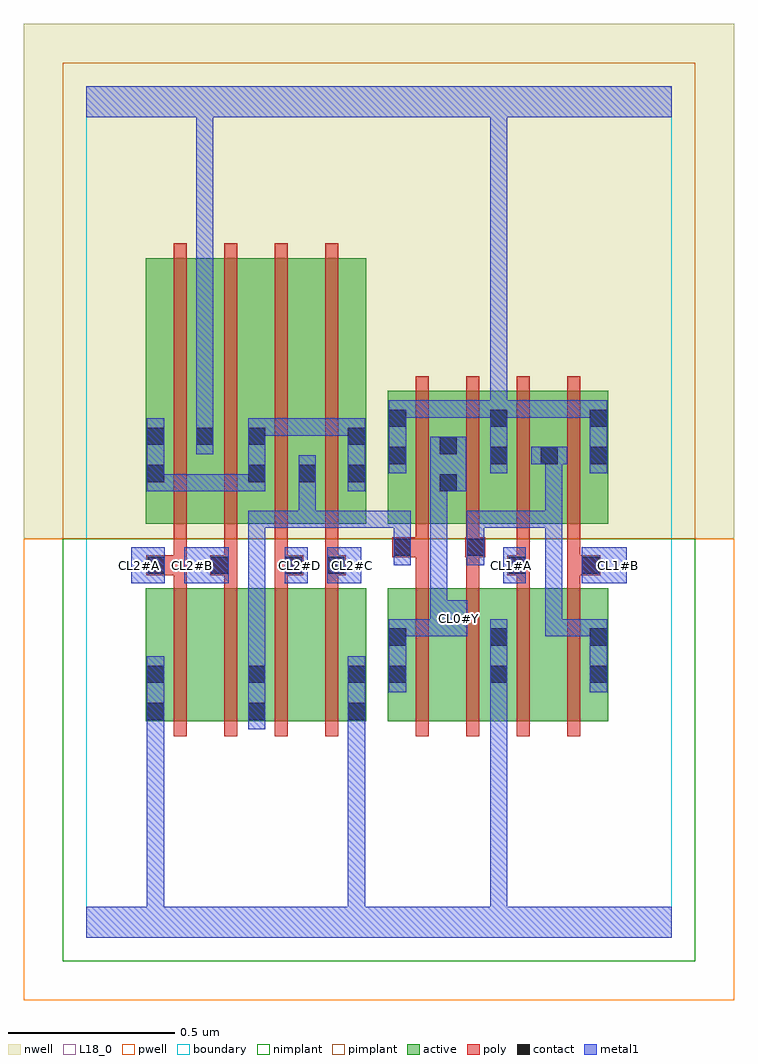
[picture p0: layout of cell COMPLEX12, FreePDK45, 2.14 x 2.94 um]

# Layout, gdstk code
import gdstk
lib = gdstk.Library(unit=1e-6, precision=1e-09)
def R(c, l, rs):  # rectangles x0, y0, x1, y1
    for r in rs: c.add(gdstk.rectangle(r[:2], r[2:], *l))
def A(c, l, x, y, w, h, nx, ny, dx, dy):  # array of equal rectangles
    R(c, l, [(x+i*dx, y+j*dy, x+i*dx+w, y+j*dy+h) for i in range(nx) for j in range(ny)])
active = (1, 0)
pwell = (2, 0)
nwell = (3, 0)
nimplant = (4, 0)
pimplant = (5, 0)
poly = (9, 0)
contact = (10, 0)
metal1 = (11, 0)
L18_0 = (18, 0)
boundary = (235, 0)

complex12 = lib.new_cell('COMPLEX12')
A(complex12, active, 0.906, 1.244, 0.06, 0.4, 4, 1, 0.152, 0)
A(complex12, active, 0.906, 1.244, 0.212, 0.4, 3, 1, 0.152, 0)
R(complex12, active, [(0.178,0.65,0.358,1.05), (0.178,0.65,0.238,1.05), (0.358,0.65,0.542,1.05), (0.482,0.65,0.662,1.05), (0.482,0.65,0.542,0.822), (0.662,0.65,0.842,1.05), (0.782,0.65,0.842,1.05), (0.906,0.65,1.086,1.05), (1.086,0.65,1.27,1.05), (1.21,0.65,1.39,1.05), (1.39,0.65,1.57,1.05), (0.906,0.756,0.966,1.05), (1.21,0.756,1.27,0.934), (1.51,0.756,1.57,1.05), (0.178,1.244,0.238,2.044), (0.178,1.244,0.386,2.044), (0.326,1.244,0.386,2.044), (0.326,1.244,0.542,2.044), (0.482,1.244,0.542,2.044), (0.482,1.244,0.694,2.044), (0.634,1.244,0.694,2.044), (0.634,1.244,0.842,2.044), (0.782,1.244,0.842,2.044), (1.362,1.244,1.57,1.644), (1.51,1.244,1.57,1.644)])
R(complex12, pwell, [(-0.188,-0.188,1.948,1.2)])
R(complex12, nwell, [(-0.188,1.2,1.948,2.748)])
R(complex12, nimplant, [(-0.072,-0.072,1.832,1.2)])
R(complex12, pimplant, [(-0.072,1.2,1.832,2.632)])
A(complex12, poly, 0.262, 0.606, 0.04, 0.488, 4, 1, 0.152, 0)
A(complex12, poly, 0.99, 0.606, 0.04, 0.488, 4, 2, 0.152, 0.594)
A(complex12, poly, 0.262, 1.054, 0.04, 0.076, 4, 1, 0.152, 0)
A(complex12, poly, 0.262, 1.11, 0.04, 0.13, 4, 1, 0.152, 0)
A(complex12, poly, 0.262, 1.2, 0.04, 0.888, 4, 1, 0.152, 0)
R(complex12, poly, [(0.99,1.054,1.03,1.184), (1.142,1.054,1.182,1.184), (1.294,1.054,1.334,1.13), (1.446,1.054,1.486,1.13), (0.18,1.09,0.302,1.15), (0.372,1.09,0.454,1.15), (0.414,1.09,0.454,1.13), (0.414,1.09,0.454,1.13), (0.566,1.09,0.652,1.15), (0.718,1.09,0.78,1.15), (1.266,1.09,1.334,1.15), (1.446,1.09,1.486,1.13), (1.446,1.09,1.486,1.13), (1.446,1.09,1.546,1.15), (0.262,1.11,0.302,1.15), (0.262,1.11,0.302,1.15), (0.566,1.11,0.606,1.15), (0.566,1.11,0.606,1.15), (0.718,1.11,0.758,1.15), (0.718,1.11,0.758,1.15), (1.294,1.11,1.334,1.24), (1.294,1.11,1.334,1.15), (1.294,1.11,1.334,1.15), (1.446,1.11,1.486,1.24), (0.92,1.144,1.03,1.204), (0.99,1.144,1.03,1.184), (0.99,1.144,1.03,1.184), (1.14,1.144,1.2,1.204), (1.142,1.144,1.182,1.184), (1.142,1.144,1.182,1.184), (0.99,1.164,1.03,1.24), (1.142,1.164,1.182,1.24)])
R(complex12, contact, [(0.182,0.654,0.234,0.706), (0.486,0.654,0.538,0.706), (0.786,0.654,0.838,0.706), (0.182,0.766,0.234,0.818), (0.486,0.766,0.538,0.818), (0.786,0.766,0.838,0.818), (0.91,0.766,0.962,0.818), (1.214,0.766,1.266,0.818), (1.514,0.766,1.566,0.818), (0.91,0.878,0.962,0.93), (1.214,0.878,1.266,0.93), (1.514,0.878,1.566,0.93), (0.184,1.094,0.236,1.146), (0.376,1.094,0.428,1.146), (0.596,1.094,0.648,1.146), (0.724,1.094,0.776,1.146), (1.27,1.094,1.322,1.146), (1.49,1.094,1.542,1.146), (0.924,1.148,0.976,1.2), (1.144,1.148,1.196,1.2), (1.062,1.342,1.114,1.394), (0.182,1.37,0.234,1.422), (0.486,1.37,0.538,1.422), (0.638,1.37,0.69,1.422), (0.786,1.37,0.838,1.422), (0.91,1.424,0.962,1.476), (1.214,1.424,1.266,1.476), (1.366,1.424,1.418,1.476), (1.514,1.424,1.566,1.476), (1.062,1.454,1.114,1.506), (0.182,1.482,0.234,1.534), (0.33,1.482,0.382,1.534), (0.486,1.482,0.538,1.534), (0.786,1.482,0.838,1.534), (0.91,1.536,0.962,1.588), (1.214,1.536,1.266,1.588), (1.514,1.536,1.566,1.588)])
R(complex12, metal1, [(0,0,1.76,0.092), (0.182,0.04,0.234,0.092), (0.182,0.04,0.234,0.092), (0.182,0.04,0.234,0.678), (0.786,0.04,0.838,0.092), (0.786,0.04,0.838,0.092), (0.786,0.04,0.838,0.678), (1.214,0.04,1.266,0.092), (1.214,0.04,1.266,0.092), (1.214,0.04,1.266,0.79), (0.182,0.626,0.234,0.678), (0.182,0.626,0.234,0.678), (0.182,0.626,0.234,0.678), (0.182,0.626,0.234,0.678), (0.182,0.626,0.234,0.678), (0.182,0.626,0.234,0.678), (0.182,0.626,0.234,0.678), (0.182,0.626,0.234,0.678), (0.182,0.626,0.234,0.678), (0.182,0.626,0.234,0.678), (0.182,0.626,0.234,0.846), (0.486,0.626,0.538,0.846), (0.786,0.626,0.838,0.678), (0.786,0.626,0.838,0.678), (0.786,0.626,0.838,0.678), (0.786,0.626,0.838,0.678), (0.786,0.626,0.838,0.678), (0.786,0.626,0.838,0.678), (0.786,0.626,0.838,0.678), (0.786,0.626,0.838,0.678), (0.786,0.626,0.838,0.678), (0.786,0.626,0.838,0.678), (0.786,0.626,0.838,0.846), (0.91,0.738,0.962,0.958), (1.214,0.738,1.266,0.79), (1.214,0.738,1.266,0.79), (1.214,0.738,1.266,0.79), (1.214,0.738,1.266,0.79), (1.214,0.738,1.266,0.79), (1.214,0.738,1.266,0.79), (1.214,0.738,1.266,0.79), (1.214,0.738,1.266,0.79), (1.214,0.738,1.266,0.79), (1.214,0.738,1.266,0.79), (1.214,0.738,1.266,0.958), (1.514,0.738,1.566,0.958), (0.486,0.794,0.538,1.284), (0.91,0.906,0.962,0.958), (0.91,0.906,0.962,0.958), (0.91,0.906,0.962,0.958), (0.91,0.906,0.962,0.958), (0.91,0.906,1.086,0.958), (1.034,0.906,1.146,1.014), (1.38,0.906,1.432,0.958), (1.38,0.906,1.566,0.958), (1.38,0.906,1.432,1.284), (1.514,0.906,1.566,0.958), (1.514,0.906,1.566,0.958), (1.514,0.906,1.566,0.958), (1.514,0.906,1.566,0.958), (1.034,0.962,1.086,1.394), (0.134,1.066,0.236,1.174), (0.294,1.066,0.428,1.174), (0.596,1.066,0.666,1.174), (0.724,1.066,0.826,1.174), (1.254,1.066,1.322,1.174), (1.49,1.066,1.626,1.174), (0.924,1.12,0.976,1.228), (1.144,1.12,1.196,1.228), (0.924,1.176,0.976,1.228), (0.924,1.176,0.976,1.284), (1.144,1.176,1.196,1.228), (1.144,1.176,1.196,1.284), (0.486,1.232,0.538,1.284), (0.486,1.232,0.538,1.284), (0.486,1.232,0.538,1.284), (0.486,1.232,0.538,1.284), (0.486,1.232,0.538,1.284), (0.486,1.232,0.69,1.284), (0.638,1.232,0.69,1.284), (0.638,1.232,0.69,1.284), (0.638,1.232,0.69,1.284), (0.638,1.232,0.8,1.284), (0.638,1.232,0.69,1.394), (0.748,1.232,0.8,1.284), (0.748,1.232,0.976,1.284), (1.144,1.232,1.432,1.284), (1.38,1.232,1.432,1.284), (1.38,1.232,1.432,1.284), (1.38,1.232,1.432,1.284), (1.38,1.232,1.432,1.476), (0.182,1.342,0.234,1.394), (0.182,1.342,0.234,1.394), (0.182,1.342,0.234,1.562), (0.182,1.342,0.428,1.394), (0.376,1.342,0.428,1.394), (0.376,1.342,0.428,1.394), (0.376,1.342,0.428,1.394), (0.376,1.342,0.538,1.394), (0.486,1.342,0.538,1.562), (0.638,1.342,0.69,1.45), (0.786,1.342,0.838,1.562), (1.034,1.342,1.086,1.394), (1.034,1.342,1.086,1.394), (1.034,1.342,1.142,1.506), (0.91,1.396,0.962,1.616), (1.214,1.396,1.266,1.616), (1.514,1.396,1.566,1.616), (1.338,1.424,1.446,1.476), (0.33,1.454,0.382,1.562), (0.33,1.51,0.382,2.52), (0.486,1.51,0.538,1.562), (0.486,1.51,0.538,1.562), (0.486,1.51,0.538,1.562), (0.486,1.51,0.538,1.562), (0.486,1.51,0.648,1.562), (0.596,1.51,0.648,1.562), (0.596,1.51,0.838,1.562), (0.786,1.51,0.838,1.562), (0.786,1.51,0.838,1.562), (0.91,1.564,0.962,1.616), (0.91,1.564,0.962,1.616), (0.91,1.564,1.086,1.616), (1.034,1.564,1.086,1.616), (1.034,1.564,1.086,1.616), (1.034,1.564,1.086,1.616), (1.034,1.564,1.266,1.616), (1.214,1.564,1.266,1.616), (1.214,1.564,1.266,1.616), (1.214,1.564,1.376,1.616), (1.214,1.564,1.266,2.52), (1.324,1.564,1.376,1.616), (1.324,1.564,1.376,1.616), (1.324,1.564,1.376,1.616), (1.324,1.564,1.566,1.616), (1.514,1.564,1.566,1.616), (1.514,1.564,1.566,1.616), (0,2.468,1.76,2.56), (0.33,2.468,0.382,2.52), (0.33,2.468,0.382,2.52), (0.33,2.468,0.382,2.52), (0.33,2.468,0.382,2.52), (0.33,2.468,0.382,2.52), (0.33,2.468,0.382,2.52), (0.33,2.468,0.382,2.52), (0.33,2.468,0.382,2.52), (1.214,2.468,1.266,2.52), (1.214,2.468,1.266,2.52), (1.214,2.468,1.266,2.52), (1.214,2.468,1.266,2.52), (1.214,2.468,1.266,2.52), (1.214,2.468,1.266,2.52), (1.214,2.468,1.266,2.52), (1.214,2.468,1.266,2.52), (1.214,2.468,1.266,2.52), (1.214,2.468,1.266,2.52), (1.214,2.468,1.266,2.52), (1.214,2.468,1.266,2.52), (1.214,2.468,1.266,2.52), (1.214,2.468,1.266,2.52)])
R(complex12, L18_0, [(0,0,1.76,0.092), (0.182,0.04,0.234,0.092), (0.182,0.04,0.234,0.092), (0.182,0.04,0.234,0.678), (0.786,0.04,0.838,0.092), (0.786,0.04,0.838,0.092), (0.786,0.04,0.838,0.678), (1.214,0.04,1.266,0.092), (1.214,0.04,1.266,0.092), (1.214,0.04,1.266,0.79), (0.182,0.626,0.234,0.678), (0.182,0.626,0.234,0.678), (0.182,0.626,0.234,0.678), (0.182,0.626,0.234,0.678), (0.182,0.626,0.234,0.678), (0.182,0.626,0.234,0.678), (0.182,0.626,0.234,0.678), (0.182,0.626,0.234,0.678), (0.182,0.626,0.234,0.678), (0.182,0.626,0.234,0.678), (0.182,0.626,0.234,0.846), (0.786,0.626,0.838,0.678), (0.786,0.626,0.838,0.678), (0.786,0.626,0.838,0.678), (0.786,0.626,0.838,0.678), (0.786,0.626,0.838,0.678), (0.786,0.626,0.838,0.678), (0.786,0.626,0.838,0.678), (0.786,0.626,0.838,0.678), (0.786,0.626,0.838,0.678), (0.786,0.626,0.838,0.678), (0.786,0.626,0.838,0.846), (0.91,0.738,0.962,0.958), (1.214,0.738,1.266,0.79), (1.214,0.738,1.266,0.79), (1.214,0.738,1.266,0.79), (1.214,0.738,1.266,0.79), (1.214,0.738,1.266,0.79), (1.214,0.738,1.266,0.79), (1.214,0.738,1.266,0.79), (1.214,0.738,1.266,0.79), (1.214,0.738,1.266,0.79), (1.214,0.738,1.266,0.79), (1.214,0.738,1.266,0.958), (0.91,0.906,0.962,0.958), (0.91,0.906,0.962,0.958), (0.91,0.906,0.962,0.958), (0.91,0.906,0.962,0.958), (0.91,0.906,1.086,0.958), (1.034,0.906,1.146,1.014), (1.094,0.934,1.146,0.986), (1.034,0.962,1.086,1.394), (0.134,1.066,0.236,1.174), (0.294,1.066,0.428,1.174), (0.596,1.066,0.666,1.174), (0.724,1.066,0.826,1.174), (1.254,1.066,1.322,1.174), (1.49,1.066,1.626,1.174), (0.134,1.094,0.186,1.146), (0.294,1.094,0.346,1.146), (0.614,1.094,0.666,1.146), (0.774,1.094,0.826,1.146), (1.254,1.094,1.306,1.146), (1.574,1.094,1.626,1.146), (1.034,1.342,1.086,1.394), (1.034,1.342,1.086,1.394), (1.034,1.342,1.142,1.506), (0.91,1.396,0.962,1.616), (1.214,1.396,1.266,1.616), (1.514,1.396,1.566,1.616), (0.33,1.454,0.382,1.562), (0.33,1.51,0.382,2.52), (0.91,1.564,0.962,1.616), (0.91,1.564,0.962,1.616), (0.91,1.564,1.086,1.616), (1.034,1.564,1.086,1.616), (1.034,1.564,1.086,1.616), (1.034,1.564,1.086,1.616), (1.034,1.564,1.266,1.616), (1.214,1.564,1.266,1.616), (1.214,1.564,1.266,1.616), (1.214,1.564,1.266,2.52), (1.214,1.564,1.376,1.616), (1.324,1.564,1.376,1.616), (1.324,1.564,1.376,1.616), (1.324,1.564,1.376,1.616), (1.324,1.564,1.566,1.616), (1.514,1.564,1.566,1.616), (1.514,1.564,1.566,1.616), (0,2.468,1.76,2.56), (0.33,2.468,0.382,2.52), (0.33,2.468,0.382,2.52), (0.33,2.468,0.382,2.52), (0.33,2.468,0.382,2.52), (0.33,2.468,0.382,2.52), (0.33,2.468,0.382,2.52), (0.33,2.468,0.382,2.52), (0.33,2.468,0.382,2.52), (1.214,2.468,1.266,2.52), (1.214,2.468,1.266,2.52), (1.214,2.468,1.266,2.52), (1.214,2.468,1.266,2.52), (1.214,2.468,1.266,2.52), (1.214,2.468,1.266,2.52), (1.214,2.468,1.266,2.52), (1.214,2.468,1.266,2.52), (1.214,2.468,1.266,2.52), (1.214,2.468,1.266,2.52), (1.214,2.468,1.266,2.52), (1.214,2.468,1.266,2.52), (1.214,2.468,1.266,2.52), (1.214,2.468,1.266,2.52)])
R(complex12, boundary, [(0,0,1.76,2.56)])
complex12.add(gdstk.Label('CL0#Y', (1.12,0.96), layer=11, texttype=0))
complex12.add(gdstk.Label('CL1#A', (1.28,1.12), layer=11, texttype=0))
complex12.add(gdstk.Label('CL1#B', (1.6,1.12), layer=11, texttype=0))
complex12.add(gdstk.Label('CL2#A', (0.16,1.12), layer=11, texttype=0))
complex12.add(gdstk.Label('CL2#B', (0.32,1.12), layer=11, texttype=0))
complex12.add(gdstk.Label('CL2#C', (0.8,1.12), layer=11, texttype=0))
complex12.add(gdstk.Label('CL2#D', (0.64,1.12), layer=11, texttype=0))

lib.write_gds('COMPLEX12.gds')
